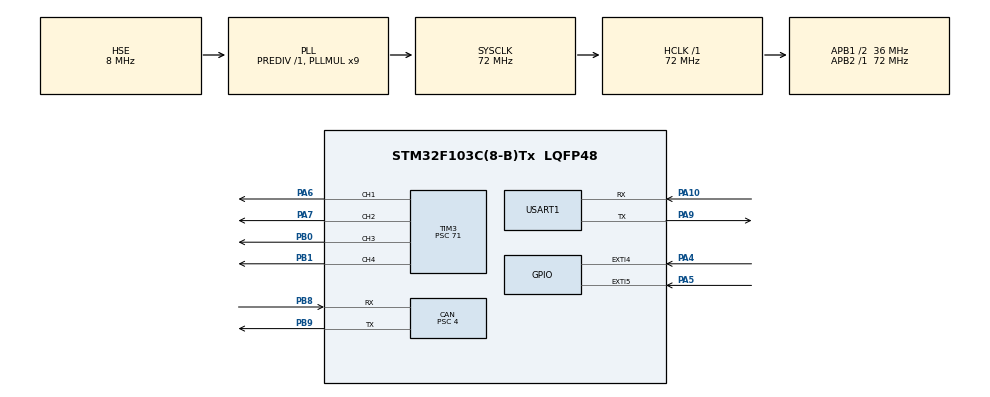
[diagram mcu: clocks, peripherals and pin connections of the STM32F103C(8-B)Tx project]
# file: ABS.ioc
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CAN.BS1=CAN_BS1_14TQ
CAN.BS2=CAN_BS2_3TQ
CAN.CalculateBaudRate=500000
CAN.CalculateTimeBit=2000
CAN.CalculateTimeQuantum=111.11111111111111
CAN.Prescaler=4
Mcu.Family=STM32F1
Mcu.Name=STM32F103C(8-B)Tx
Mcu.Package=LQFP48
NVIC.EXTI4_IRQn=true\:0\:0\:false\:false\:true\:true\:true\:true
NVIC.EXTI9_5_IRQn=true\:0\:0\:false\:false\:true\:true\:true\:true
NVIC.PriorityGroup=NVIC_PRIORITYGROUP_4
NVIC.USB_LP_CAN1_RX0_IRQn=true\:0\:0\:false\:false\:true\:true\:true\:true
PA10.Mode=Asynchronous
PA10.Signal=USART1_RX
PA13.Mode=Serial_Wire
PA13.Signal=SYS_JTMS-SWDIO
PA14.Mode=Serial_Wire
PA14.Signal=SYS_JTCK-SWCLK
PA4.GPIO_PuPd=GPIO_PULLUP
PA4.Signal=GPXTI4
PA5.GPIO_PuPd=GPIO_PULLUP
PA5.Signal=GPXTI5
PA6.Signal=S_TIM3_CH1
PA7.Signal=S_TIM3_CH2
PA9.Mode=Asynchronous
PA9.Signal=USART1_TX
PB0.Signal=S_TIM3_CH3
PB1.Signal=S_TIM3_CH4
PB8.Mode=CAN_Activate
PB8.Signal=CAN_RX
PB9.Mode=CAN_Activate
PB9.Signal=CAN_TX
PD0-OSC_IN.Mode=HSE-External-Oscillator
PD0-OSC_IN.Signal=RCC_OSC_IN
PD1-OSC_OUT.Mode=HSE-External-Oscillator
PD1-OSC_OUT.Signal=RCC_OSC_OUT
ProjectManager.HeapSize=0x200
ProjectManager.StackSize=0x400
ProjectManager.TargetToolchain=CMake
RCC.AHBFreq_Value=72000000
RCC.APB1CLKDivider=RCC_HCLK_DIV2
RCC.APB1Freq_Value=36000000
RCC.APB1TimFreq_Value=72000000
RCC.APB2Freq_Value=72000000
RCC.APB2TimFreq_Value=72000000
RCC.HCLKFreq_Value=72000000
RCC.PLLMUL=RCC_PLL_MUL9
RCC.PLLSourceVirtual=RCC_PLLSOURCE_HSE
RCC.SYSCLKFreq_VALUE=72000000
RCC.SYSCLKSource=RCC_SYSCLKSOURCE_PLLCLK
RCC.USBFreq_Value=72000000
SH.S_TIM3_CH1.0=TIM3_CH1,PWM Generation1 CH1
SH.S_TIM3_CH2.0=TIM3_CH2,PWM Generation2 CH2
SH.S_TIM3_CH3.0=TIM3_CH3,PWM Generation3 CH3
SH.S_TIM3_CH4.0=TIM3_CH4,PWM Generation4 CH4
TIM3.Channel-PWM\ Generation1\ CH1=TIM_CHANNEL_1
TIM3.Channel-PWM\ Generation2\ CH2=TIM_CHANNEL_2
TIM3.Channel-PWM\ Generation3\ CH3=TIM_CHANNEL_3
TIM3.Channel-PWM\ Generation4\ CH4=TIM_CHANNEL_4
TIM3.Prescaler=71
USART1.VirtualMode=VM_ASYNC
VP_TIM3_VS_ClockSourceINT.Mode=Internal
board=custom

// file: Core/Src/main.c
/* USER CODE BEGIN Header */
/**
  ******************************************************************************
  * @file           : main.c
  * @brief          : Main program body
  ******************************************************************************
  * @attention
  *
  * Copyright (c) 2026 STMicroelectronics.
  * All rights reserved.
  *
  * This software is licensed under terms that can be found in the LICENSE file
  * in the root directory of this software component.
  * If no LICENSE file comes with this software, it is provided AS-IS.
  *
  ******************************************************************************
  */
/* USER CODE END Header */
#include "main.h"
#include "can.h"
#include "tim.h"
#include "usart.h"
#include "gpio.h"

/* USER CODE BEGIN Includes */
#include <stdio.h>
/* USER CODE END Includes */

/* USER CODE BEGIN PV */
volatile uint32_t pulse_count_left = 0;
volatile uint32_t pulse_count_right = 0;
volatile uint32_t current_rpm_left = 0;
volatile uint32_t current_rpm_right = 0;
volatile uint8_t flag_emergency = 0;
volatile uint8_t throttle_percent = 0;
volatile uint8_t brake_percent = 0;
volatile uint8_t abs_active = 0;
uint32_t last_log_tick = 0;

CAN_RxHeaderTypeDef rxHeader;
uint8_t rxData[8];

CAN_TxHeaderTypeDef txHeader;
uint32_t txMailbox;
uint8_t txData[8];
/* USER CODE END PV */

void SystemClock_Config(void);

int main(void)
{

  /* MCU Configuration--------------------------------------------------------*/

  /* Reset of all peripherals, Initializes the Flash interface and the Systick. */
  HAL_Init();

  /* Configure the system clock */
  SystemClock_Config();

  /* Initialize all configured peripherals */
  MX_GPIO_Init();
  MX_CAN_Init();
  MX_TIM3_Init();
  MX_USART1_UART_Init();
  /* USER CODE BEGIN 2 */
  HAL_TIM_PWM_Start(&htim3, TIM_CHANNEL_1);
  HAL_TIM_PWM_Start(&htim3, TIM_CHANNEL_2);
  HAL_TIM_PWM_Start(&htim3, TIM_CHANNEL_3);
  HAL_TIM_PWM_Start(&htim3, TIM_CHANNEL_4);

  CAN_FilterTypeDef canfilterconfig = {0};
  canfilterconfig.FilterActivation = CAN_FILTER_ENABLE;
  canfilterconfig.FilterBank = 0;
  canfilterconfig.FilterFIFOAssignment = CAN_RX_FIFO0;
  canfilterconfig.FilterIdHigh = 0x0000;
  canfilterconfig.FilterIdLow = 0x0000;
  canfilterconfig.FilterMaskIdHigh = 0x0000;
  canfilterconfig.FilterMaskIdLow = 0x0000;
  canfilterconfig.FilterMode = CAN_FILTERMODE_IDMASK;
  canfilterconfig.FilterScale = CAN_FILTERSCALE_32BIT;
  canfilterconfig.SlaveStartFilterBank = 14;
  HAL_CAN_ConfigFilter(&hcan, &canfilterconfig);

  HAL_CAN_ActivateNotification(&hcan, CAN_IT_RX_FIFO0_MSG_PENDING);
  HAL_CAN_Start(&hcan);

  // Cau hinh ban tin TX gui RPM & Status
  txHeader.StdId = 0x102;
  txHeader.ExtId = 0x01;
  txHeader.RTR = CAN_RTR_DATA;
  txHeader.IDE = CAN_ID_STD;
  txHeader.DLC = 3; // 2 byte RPM, 1 byte ABS status
  txHeader.TransmitGlobalTime = DISABLE;

  /* USER CODE END 2 */

  /* Infinite loop */
  /* USER CODE BEGIN WHILE */
  uint32_t last_tick = HAL_GetTick();
  while (1)
  {
    if (HAL_GetTick() - last_log_tick >= 500) {
        printf("RPM_L: %lu | RPM_R: %lu | Throttle: %u | Brake: %u | ABS: %u | Emergency: %u\r\n",
               current_rpm_left, current_rpm_right, throttle_percent, brake_percent, abs_active, flag_emergency);
        last_log_tick = HAL_GetTick();
    }

    if (HAL_GetTick() - last_tick >= 50) {
        // Chu kỳ lấy mẫu 50ms (1/20 giây)
        current_rpm_left = pulse_count_left * 60;
        current_rpm_right = pulse_count_right * 60;
        pulse_count_left = 0;
        pulse_count_right = 0;
        last_tick = HAL_GetTick();

        // Phát RPM trung bình (hoặc tuỳ chỉnh) lên CAN cho ADAS/Dashboard hiển thị
        uint32_t current_rpm_avg = (current_rpm_left + current_rpm_right) / 2;
        txData[0] = (current_rpm_avg >> 8) & 0xFF; // High byte
        txData[1] = current_rpm_avg & 0xFF;        // Low byte
        txData[2] = abs_active;
        HAL_CAN_AddTxMessage(&hcan, &txHeader, txData, &txMailbox);
    }

    if (flag_emergency == 1) {
        __HAL_TIM_SET_COMPARE(&htim3, TIM_CHANNEL_3, 0); // Động cơ Trái (A-1A) -> PB0
        __HAL_TIM_SET_COMPARE(&htim3, TIM_CHANNEL_4, 0); // Động cơ Trái (A-1B) -> PB1
        __HAL_TIM_SET_COMPARE(&htim3, TIM_CHANNEL_1, 0); // Động cơ Phải (B-1A) -> PA6
        __HAL_TIM_SET_COMPARE(&htim3, TIM_CHANNEL_2, 0); // Động cơ Phải (B-1B) -> PA7
        abs_active = 0;
    }
    else if (brake_percent > 30) {
        // ABS Độc lập: Nếu bánh nào tốc độ thấp (bó cứng) thì nhấp nhả bánh đó
        // ABS Độc lập: Nếu bánh nào tốc độ thấp (bó cứng) thì nhấp nhả bánh đó
        uint32_t pwm_brake_left = (30 * 65535) / 100;  // Lực hãm 30%
        uint32_t pwm_brake_right = (30 * 65535) / 100;

        // Cycle 50ms nhấp nhả
        if (HAL_GetTick() % 100 < 50) {
            if (current_rpm_left < 100) pwm_brake_left = 0;   // Nhả phanh trái
            if (current_rpm_right < 100) pwm_brake_right = 0; // Nhả phanh phải
        }

        // Bánh trái (A) ở TIM3_CH3, CH4
        __HAL_TIM_SET_COMPARE(&htim3, TIM_CHANNEL_3, pwm_brake_left);
        __HAL_TIM_SET_COMPARE(&htim3, TIM_CHANNEL_4, 0);
        // Bánh phải (B) ở TIM3_CH1, CH2
        __HAL_TIM_SET_COMPARE(&htim3, TIM_CHANNEL_1, pwm_brake_right);
        __HAL_TIM_SET_COMPARE(&htim3, TIM_CHANNEL_2, 0);
        abs_active = 1;
    }
    else {
        uint32_t target_duty = (throttle_percent * 65535) / 100;
        if (brake_percent > 0) target_duty = 0; // Normal braking

        // Thuật toán Soft-Start (Lọc thông thấp) để chống giật cục / sụt áp khi thay đổi ga đột ngột
        static float current_duty = 0;
        current_duty += ((float)target_duty - current_duty) * 0.02f; // Tăng dần 2% mỗi vòng lặp

        uint32_t duty = (uint32_t)current_duty;
        if (duty > 65535) duty = 65535;

        // Bánh trái (A)
        __HAL_TIM_SET_COMPARE(&htim3, TIM_CHANNEL_3, duty);
        __HAL_TIM_SET_COMPARE(&htim3, TIM_CHANNEL_4, 0);
        // Bánh phải (B)
        __HAL_TIM_SET_COMPARE(&htim3, TIM_CHANNEL_1, duty);
        __HAL_TIM_SET_COMPARE(&htim3, TIM_CHANNEL_2, 0);
        abs_active = 0;
    }

    HAL_Delay(10); // 10ms cycle loop to ensure Soft-Start algorithm works correctly
    /* USER CODE END WHILE */

  }
}

void SystemClock_Config(void)
{
  RCC_OscInitTypeDef RCC_OscInitStruct = {0};
  RCC_ClkInitTypeDef RCC_ClkInitStruct = {0};

  /** Initializes the RCC Oscillators according to the specified parameters
  * in the RCC_OscInitTypeDef structure.
  */
  RCC_OscInitStruct.OscillatorType = RCC_OSCILLATORTYPE_HSE;
  RCC_OscInitStruct.HSEState = RCC_HSE_ON;
  RCC_OscInitStruct.HSEPredivValue = RCC_HSE_PREDIV_DIV1;
  RCC_OscInitStruct.HSIState = RCC_HSI_ON;
  RCC_OscInitStruct.PLL.PLLState = RCC_PLL_ON;
  RCC_OscInitStruct.PLL.PLLSource = RCC_PLLSOURCE_HSE;
  RCC_OscInitStruct.PLL.PLLMUL = RCC_PLL_MUL9;
  if (HAL_RCC_OscConfig(&RCC_OscInitStruct) != HAL_OK)
  {
    Error_Handler();
  }

  /** Initializes the CPU, AHB and APB buses clocks
  */
  RCC_ClkInitStruct.ClockType = RCC_CLOCKTYPE_HCLK|RCC_CLOCKTYPE_SYSCLK
                              |RCC_CLOCKTYPE_PCLK1|RCC_CLOCKTYPE_PCLK2;
  RCC_ClkInitStruct.SYSCLKSource = RCC_SYSCLKSOURCE_PLLCLK;
  RCC_ClkInitStruct.AHBCLKDivider = RCC_SYSCLK_DIV1;
  RCC_ClkInitStruct.APB1CLKDivider = RCC_HCLK_DIV2;
  RCC_ClkInitStruct.APB2CLKDivider = RCC_HCLK_DIV1;

  if (HAL_RCC_ClockConfig(&RCC_ClkInitStruct, FLASH_LATENCY_2) != HAL_OK)
  {
    Error_Handler();
  }
}

/* USER CODE BEGIN 4 */
#ifdef __GNUC__
  /* With GCC/RAISONANCE, small printf (option LD Linker->Libraries->Small printf
     set to 'Yes') calls __io_putchar() */
  #define PUTCHAR_PROTOTYPE int __io_putchar(int ch)
#else
  #define PUTCHAR_PROTOTYPE int fputc(int ch, FILE *f)
#endif /* __GNUC__ */

PUTCHAR_PROTOTYPE
{
  HAL_UART_Transmit(&huart1, (uint8_t *)&ch, 1, HAL_MAX_DELAY);
  return ch;
}

int _write(int file, char *ptr, int len)
{
  int DataIdx;
  for (DataIdx = 0; DataIdx < len; DataIdx++)
  {
    __io_putchar(*ptr++);
  }
  return len;
}

void HAL_GPIO_EXTI_Callback(uint16_t GPIO_Pin)
{
    if (GPIO_Pin == GPIO_PIN_4) {
        pulse_count_left++;
    }
    if (GPIO_Pin == GPIO_PIN_5) {
        pulse_count_right++;
    }
}

void HAL_CAN_RxFifo0MsgPendingCallback(CAN_HandleTypeDef *hcan) {
    CAN_RxHeaderTypeDef rxHeader;
    uint8_t rxData[8];

    // Khắc phục lỗi kẹt FIFO Overrun
    __HAL_CAN_CLEAR_FLAG(hcan, CAN_FLAG_FOV0);

    if (HAL_CAN_GetRxMessage(hcan, CAN_RX_FIFO0, &rxHeader, rxData) == HAL_OK) {
        if (rxHeader.StdId == 0x200) {
            if (rxData[0] == 1) { // Lệnh khẩn cấp từ ADAS
                if (flag_emergency == 0) {
                    flag_emergency = 1;
                    printf("[EMERGENCY] Nhan lenh tu ADAS: Khoa cung banh xe do va cham!\r\n");
                }
            }
            else if (rxData[0] == 0) { // Lệnh phục hồi từ ADAS
                if (flag_emergency == 1) {
                    flag_emergency = 0;
                    printf("[RECOVERY] Nhan lenh tu ADAS: Mo khoa banh xe, hoat dong binh thuong!\r\n");
                }
            }
        }
        else if (rxHeader.StdId == 0x100) {
            throttle_percent = rxData[0];
            brake_percent = rxData[1];
        }
    }
}
/* USER CODE END 4 */

void Error_Handler(void)
{
  __disable_irq();
  while (1)
  {
  }
}
